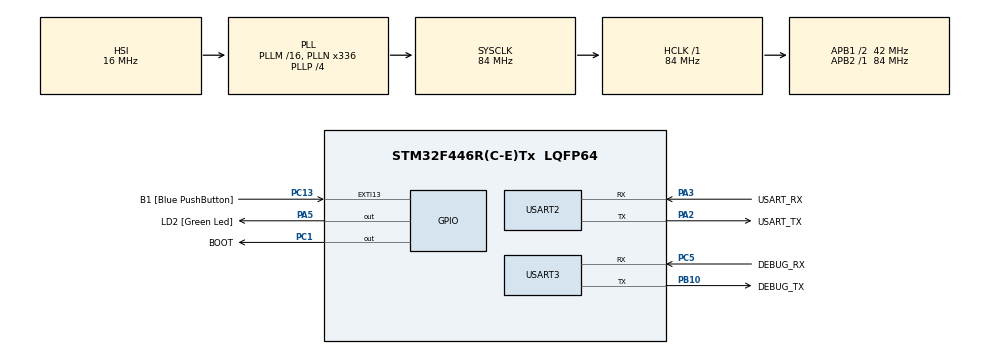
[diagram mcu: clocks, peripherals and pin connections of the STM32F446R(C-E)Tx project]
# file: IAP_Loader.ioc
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Mcu.Family=STM32F4
Mcu.Name=STM32F446R(C-E)Tx
Mcu.Package=LQFP64
NVIC.PriorityGroup=NVIC_PRIORITYGROUP_0
PA13.GPIO_Label=TMS
PA13.Mode=Serial_Wire
PA13.Signal=SYS_JTMS-SWDIO
PA14.GPIO_Label=TCK
PA14.Mode=Serial_Wire
PA14.Signal=SYS_JTCK-SWCLK
PA2.GPIO_Label=USART_TX
PA2.Mode=Asynchronous
PA2.Signal=USART2_TX
PA3.GPIO_Label=USART_RX
PA3.Mode=Asynchronous
PA3.Signal=USART2_RX
PA5.GPIO_Label=LD2 [Green Led]
PA5.Signal=GPIO_Output
PB10.GPIO_Label=DEBUG_TX
PB10.Mode=Asynchronous
PB10.Signal=USART3_TX
PB3.GPIO_Label=SWO
PB3.Signal=SYS_JTDO-SWO
PC1.GPIO_Label=BOOT
PC1.Signal=GPIO_Output
PC13.GPIO_Label=B1 [Blue PushButton]
PC13.GPIO_ModeDefaultEXTI=GPIO_MODE_IT_FALLING
PC13.Signal=GPXTI13
PC14-OSC32_IN.Mode=LSE-External-Oscillator
PC14-OSC32_IN.Signal=RCC_OSC32_IN
PC15-OSC32_OUT.Mode=LSE-External-Oscillator
PC15-OSC32_OUT.Signal=RCC_OSC32_OUT
PC5.GPIO_Label=DEBUG_RX
PC5.Mode=Asynchronous
PC5.Signal=USART3_RX
PH0-OSC_IN.Mode=HSE-External-Oscillator
PH0-OSC_IN.Signal=RCC_OSC_IN
PH1-OSC_OUT.Mode=HSE-External-Oscillator
PH1-OSC_OUT.Signal=RCC_OSC_OUT
ProjectManager.HeapSize=0x400
ProjectManager.StackSize=0x800
ProjectManager.TargetToolchain=TrueSTUDIO
RCC.48MHZClocksFreq_Value=84000000
RCC.AHBFreq_Value=84000000
RCC.APB1CLKDivider=RCC_HCLK_DIV2
RCC.APB1Freq_Value=42000000
RCC.APB1TimFreq_Value=84000000
RCC.APB2Freq_Value=84000000
RCC.APB2TimFreq_Value=84000000
RCC.CortexFreq_Value=84000000
RCC.FLatency-AdvancedSettings=FLASH_LATENCY_2
RCC.HCLKFreq_Value=84000000
RCC.HSE_VALUE=8000000
RCC.HSI_VALUE=16000000
RCC.PLLN=336
RCC.PLLP=RCC_PLLP_DIV4
RCC.SYSCLKFreq_VALUE=84000000
RCC.SYSCLKSource=RCC_SYSCLKSOURCE_PLLCLK
RCC.USBFreq_Value=168000000
RCC.VCOOutputFreq_Value=336000000
USART2.VirtualMode=VM_ASYNC
USART3.VirtualMode=VM_ASYNC
board=NUCLEO-F446RE

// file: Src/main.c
/* USER CODE BEGIN Header */
/**
  ******************************************************************************
  * @file           : main.c
  * @brief          : Main program body
  ******************************************************************************
  * @attention
  *
  * <h2><center>&copy; Copyright (c) 2019 STMicroelectronics.
  * All rights reserved.</center></h2>
  *
  * This software component is licensed by ST under BSD 3-Clause license,
  * the "License"; You may not use this file except in compliance with the
  * License. You may obtain a copy of the License at:
  *                        opensource.org/licenses/BSD-3-Clause
  *
  ******************************************************************************
  */
/* USER CODE END Header */

#include "main.h"
#include "usart.h"
#include "gpio.h"

#include "menu.h"
#include "LAPSRCcommon.h"
#include "ymodem.h"
#include "flash_if.h"

/* USER CODE BEGIN PV */
pFunction Jump_To_Application;
uint32_t JumpAddress;
/* USER CODE END PV */

void SystemClock_Config(void);

int main(void)
{
  /* USER CODE BEGIN 1 */
	uint32_t t=0;
	uint8_t k=0;
  /* USER CODE END 1 */

  /* MCU Configuration--------------------------------------------------------*/

  /* Reset of all peripherals, Initializes the Flash interface and the Systick. */
  HAL_Init();

  /* Configure the system clock */
  SystemClock_Config();

  /* Initialize all configured peripherals */
  MX_GPIO_Init();
  MX_USART2_UART_Init();
  MX_USART3_UART_Init();
  /* USER CODE BEGIN 2 */
//  Main_Menu();

  /* USER CODE END 2 */

  /* Infinite loop */
  /* USER CODE BEGIN WHILE */
  t=HAL_GetTick();
  HAL_UART_Transmit(&huart3,"IAP2\r\n",6,1000);

  if(((*(__IO uint32_t*)MAIN_APPLICATION_ADDRESS) & 0x2FFD0000 ) != 0x20000000){
	  SerialDownload_update();
	  NVIC_SystemReset();
  }else{
	  HAL_UART_Transmit(&huart3,"main application available\r\n",29,1000);
  }

  if(((*(__IO uint32_t*)BACKUP_APPLICATION_ADDRESS) & 0x2FFD0000 ) == 0x20000000){
	  HAL_UART_Transmit(&huart3,"backup application available\r\n",31,1000);

	  if(backup_application_Receive() < 0){
		  HAL_UART_Transmit(&huart3,"backup_application_Receive fail\r\n",33,1000);
		  NVIC_SystemReset();
	  }else{
		  HAL_UART_Transmit(&huart3,"backup_application_Receive sucess\r\n",35,1000);
		  NVIC_SystemReset();
	  }
  }

  while (1)
  {
	  if((HAL_GetTick() - t) < 1000){
		  if(SerialKeyPressed(&k)){
			  HAL_UART_Transmit(&huart3,"BTN press\r\n",11,1000);
			  if(SerialDownload_backup() == 0){
				  break;
			  }else{
				  NVIC_SystemReset();
			  }
		  }
	  }else{
		  break;
	  }
    /* USER CODE END WHILE */
    /* USER CODE BEGIN 3 */
  }
  JumpAddress = *(__IO uint32_t*) (MAIN_APPLICATION_ADDRESS + 4);
  /* Jump to user application */
  Jump_To_Application = (pFunction) JumpAddress;

//  SysTick->CTRL = 0 ;
//  SCB->VTOR = MAIN_APPLICATION_ADDRESS;

  /* Initialize user application's Stack Pointer */
  __set_MSP(*(__IO uint32_t*) MAIN_APPLICATION_ADDRESS);
  HAL_UART_Transmit(&huart3,"JUMP to main application\r\n",26,1000);
  Jump_To_Application();
  /* USER CODE END 3 */
}

void SystemClock_Config(void)
{
  RCC_OscInitTypeDef RCC_OscInitStruct = {0};
  RCC_ClkInitTypeDef RCC_ClkInitStruct = {0};

  /** Configure the main internal regulator output voltage
  */
  __HAL_RCC_PWR_CLK_ENABLE();
  __HAL_PWR_VOLTAGESCALING_CONFIG(PWR_REGULATOR_VOLTAGE_SCALE3);
  /** Initializes the CPU, AHB and APB busses clocks
  */
  RCC_OscInitStruct.OscillatorType = RCC_OSCILLATORTYPE_HSI;
  RCC_OscInitStruct.HSIState = RCC_HSI_ON;
  RCC_OscInitStruct.HSICalibrationValue = RCC_HSICALIBRATION_DEFAULT;
  RCC_OscInitStruct.PLL.PLLState = RCC_PLL_ON;
  RCC_OscInitStruct.PLL.PLLSource = RCC_PLLSOURCE_HSI;
  RCC_OscInitStruct.PLL.PLLM = 16;
  RCC_OscInitStruct.PLL.PLLN = 336;
  RCC_OscInitStruct.PLL.PLLP = RCC_PLLP_DIV4;
  RCC_OscInitStruct.PLL.PLLQ = 2;
  RCC_OscInitStruct.PLL.PLLR = 2;
  if (HAL_RCC_OscConfig(&RCC_OscInitStruct) != HAL_OK)
  {
    Error_Handler();
  }
  /** Initializes the CPU, AHB and APB busses clocks
  */
  RCC_ClkInitStruct.ClockType = RCC_CLOCKTYPE_HCLK|RCC_CLOCKTYPE_SYSCLK
                              |RCC_CLOCKTYPE_PCLK1|RCC_CLOCKTYPE_PCLK2;
  RCC_ClkInitStruct.SYSCLKSource = RCC_SYSCLKSOURCE_PLLCLK;
  RCC_ClkInitStruct.AHBCLKDivider = RCC_SYSCLK_DIV1;
  RCC_ClkInitStruct.APB1CLKDivider = RCC_HCLK_DIV2;
  RCC_ClkInitStruct.APB2CLKDivider = RCC_HCLK_DIV1;

  if (HAL_RCC_ClockConfig(&RCC_ClkInitStruct, FLASH_LATENCY_2) != HAL_OK)
  {
    Error_Handler();
  }
}

void Error_Handler(void)
{
}

/************************ (C) COPYRIGHT STMicroelectronics *****END OF FILE****/
